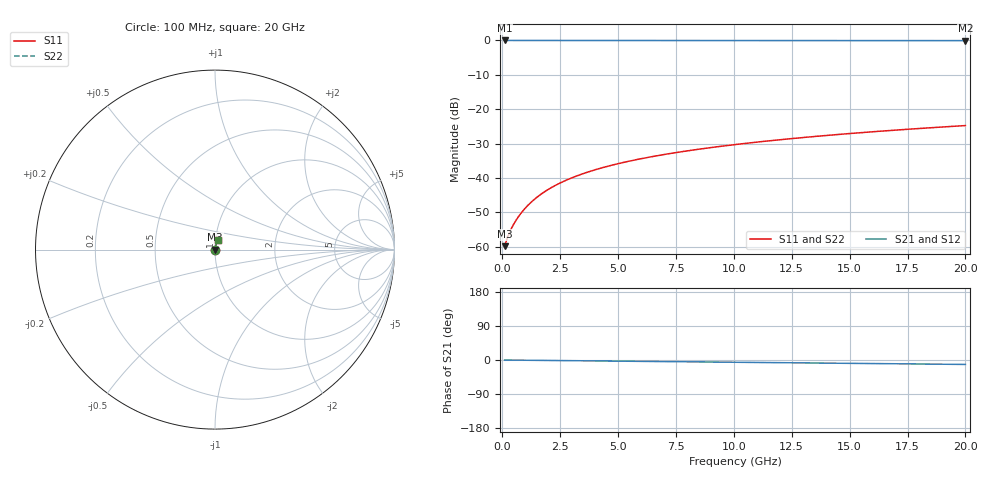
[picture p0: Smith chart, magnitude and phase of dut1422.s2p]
! Touchstone file exported from HFSS 2026.1.0
!  File:  C:/ffzhzh/LocalFiles/Ansys_Project_Files/temp_train_BSMRDL_1422_1783180224_18472.aedt
!  Generated:  11:51:34 PM Jul  4, 2026
!  Design:  BSMRDL
!  Project:  temp_train_BSMRDL_1422_1783180224_18472
! Variables:
!  h_bsmrdl = 5.02um
!  h_ox = 20um
!  h_rdl = 5um
!  h_sub = 80um
!  h_tmrdl = 5um
!  h_tsv = 80um
!  h_via = 3um
!  l_bsmrdl = 188.77um
!  l_sub = 588.77um
!  l_tmrdl = 200um
!  m_sub = 200um
!  pitch = 26.35um
!  r_tsv = 6um
!  s_tmrdl = 10um
!  w_bsmrdl = 17.39um
!  w_sub = 500um
!  w_tmrdl = 12um
!  x_tsv_center1 = 206um
!  x_tsv_center2 = 412.16um
!  x_tsv_center3 = 624.16um
!  x_tsv_center4 = 830.32um
!  x_tsv_center5 = 1042.32um
!  x_tsv_center6 = 1248.48um
# GHz S MA R 50.000000
! Terminal data exported
! Port[1] = BSM_RDL1_1_T1
! Port[2] = BSM_RDL1_1_T2
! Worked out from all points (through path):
!   200 points, 100 MHz to 20 GHz, reference 50 ohm
!   highest |S21| = -0.01 dB at 100 MHz (marker M1); lowest = -0.1 dB at 20 GHz (marker M2)
!   group delay of S21, straight-line fit = 1.62 ps
!   lowest |S11| = -59.9 dB at 100 MHz (marker M3), VSWR 1.00, Z = 50.1 + j0.0437 ohm
!   |S11| at or under -10 dB: start of sweep to end of sweep
!   |S22| runs from -59.9 to -24.8 dB; largest |S21 - S12| = 7.6e-15
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0.1  0.001017 25.4  0.9991 -0.1  0.9991 -0.1  0.001017 25.4
! Gamma 0 0 0 0
! Port Impedance 50 0 50 0
0.2  0.001288 39.6  0.999 -0.1  0.999 -0.1  0.001288 39.6
0.3  0.001575 47.6  0.9989 -0.2  0.9989 -0.2  0.001575 47.6
0.4  0.001859 53.3  0.9989 -0.3  0.9989 -0.3  0.001859 53.3
0.6  0.002437 61.0  0.9988 -0.4  0.9988 -0.4  0.002437 61.0
0.7  0.002735 63.7  0.9988 -0.4  0.9988 -0.4  0.002735 63.7
0.9  0.003346 67.9  0.9988 -0.6  0.9988 -0.6  0.003346 67.9
1.1  0.003972 70.7  0.9987 -0.7  0.9987 -0.7  0.003972 70.7
1.3  0.004607 72.7  0.9987 -0.8  0.9987 -0.8  0.004607 72.7
1.7  0.005888 75.2  0.9986 -1.0  0.9986 -1.0  0.005888 75.2
2.2  0.00749 76.9  0.9984 -1.3  0.9984 -1.3  0.007491 76.9
2.8  0.009395 77.8  0.9983 -1.7  0.9983 -1.7  0.009395 77.8
3.5  0.01158 78.3  0.998 -2.1  0.998 -2.1  0.01158 78.3
4.2  0.01372 78.4  0.9977 -2.5  0.9977 -2.5  0.01372 78.4
5  0.01611 78.4  0.9975 -3.0  0.9975 -3.0  0.01611 78.4
5.9  0.01876 78.2  0.9971 -3.5  0.9971 -3.5  0.01876 78.2
6.8  0.02136 78.0  0.9968 -4.1  0.9968 -4.1  0.02136 78.0
8.3  0.02563 77.6  0.9963 -4.9  0.9963 -4.9  0.02563 77.6
10.1  0.03069 77.0  0.9958 -6.0  0.9958 -6.0  0.03069 77.0
13.4  0.03983 75.8  0.9949 -7.9  0.9949 -7.9  0.03983 75.8
16.7  0.04884 74.5  0.9939 -9.8  0.9939 -9.8  0.04884 74.5
20  0.05773 73.0  0.993 -11.7  0.993 -11.7  0.05773 73.0
